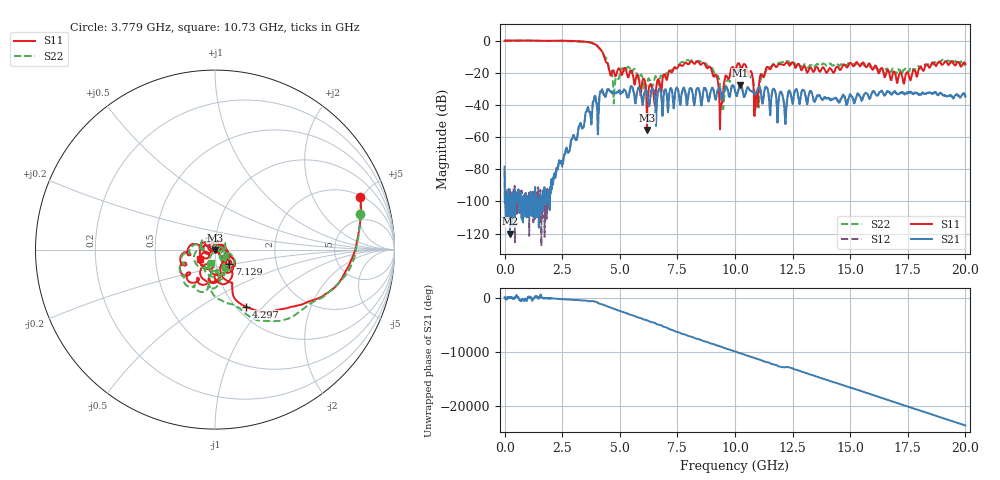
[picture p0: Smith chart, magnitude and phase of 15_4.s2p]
#  HZ  S  RI  R  50.00
! Rohde & Schwarz Vector Network Analyzer
! Rohde-Schwarz,ZNB20-2Port,1311601062102128,3.60
! Created: UTC 4/29/2024, 2:57:51 PM
! freq[Hz]  re:S11  im:S11  re:S21  im:S21  re:S12  im:S12  re:S22  im:S22
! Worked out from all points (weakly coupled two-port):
!   2007 points, 100 kHz to 20 GHz, reference 50 ohm
!   highest |S21| = -27.66 dB at 10.23 GHz (marker M1); lowest = -120.0 dB at 229.4 MHz (marker M2)
!   lowest |S11| = -55.6 dB at 6.182 GHz (marker M3), VSWR 1.00, Z = 50 - j0.162 ohm
!   |S11| at or under -10 dB: 4.326 GHz to end of sweep
!   |S22| runs from -43.0 to 0.1 dB; largest |S21 - S12| = 0.0022
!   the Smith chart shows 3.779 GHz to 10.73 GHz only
!   S11 on the Smith chart (normalised r, x): 3.779 GHz: 2.08, +4.77; 4.297 GHz: 1.11, -0.81; 7.129 GHz: 1.15, -0.19; 10.73 GHz: 0.84, -0.09
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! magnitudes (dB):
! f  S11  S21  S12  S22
! 100 kHz  0.0  -78.4  -81.2  0.1
! 229.4 MHz  0.0  -120.0  -92.5  0.0
! 2.213 GHz  -0.1  -82.4  -84.2  -0.3
! 3.34 GHz  -0.6  -53.9  -53.6  -0.6
! 3.779 GHz  -1.3  -49.9  -50.1  -1.6
! 4.297 GHz  -8.8  -33.5  -33.7  -9.0
! 4.776 GHz  -20.7  -32.3  -32.3  -28.7
! 5.354 GHz  -22.8  -35.2  -35.2  -16.3
! 6.182 GHz  -55.6  -32.1  -32.1  -27.3
! 6.67 GHz  -23.9  -31.3  -31.3  -27.2
! 7.129 GHz  -19.0  -35.7  -35.7  -20.5
! 8.644 GHz  -13.9  -30.2  -30.2  -14.3
! 9.183 GHz  -21.4  -35.6  -35.6  -22.5
! 9.392 GHz  -40.1  -32.8  -32.8  -34.2
! 10 GHz  -18.7  -31.3  -31.3  -19.4
! 10.23 GHz  -15.9  -27.7  -27.7  -16.8
! 10.73 GHz  -20.1  -31.4  -31.4  -22.3
! 10.92 GHz  -33.5  -32.5  -32.5  -34.3
! 11.42 GHz  -16.4  -30.2  -30.2  -16.8
! 13.34 GHz  -18.0  -32.8  -32.8  -15.3
! 16.67 GHz  -19.0  -31.8  -31.8  -20.5
! 20 GHz  -14.6  -34.9  -34.9  -14.4
